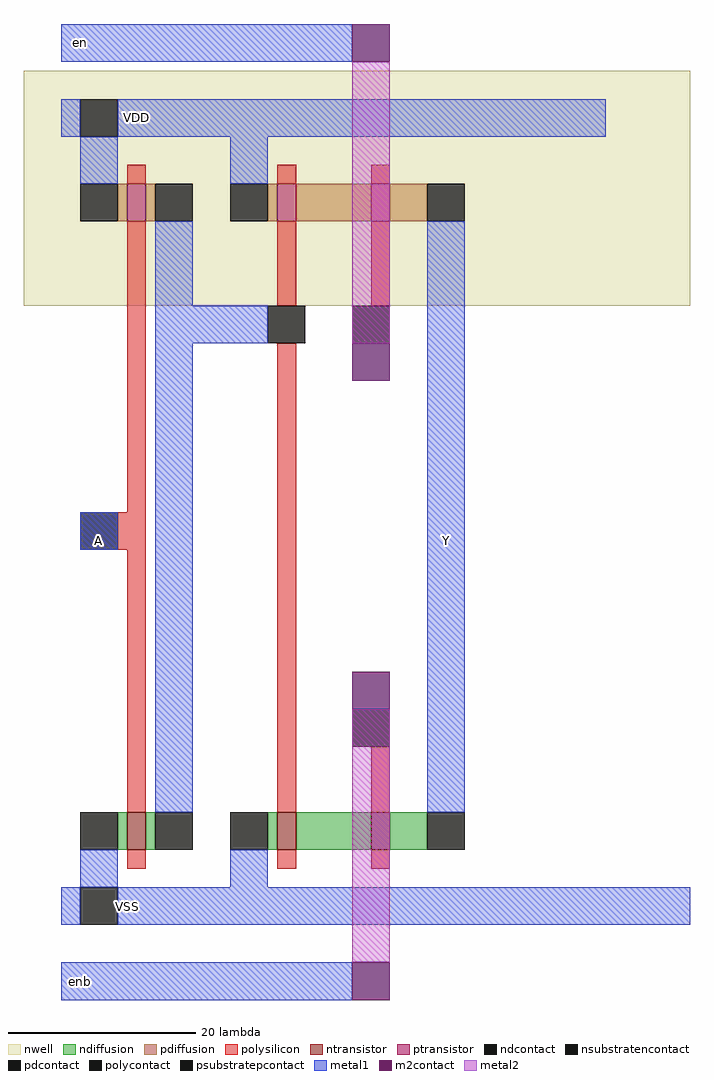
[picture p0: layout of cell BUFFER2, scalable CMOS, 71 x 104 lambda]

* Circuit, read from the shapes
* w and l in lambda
.subckt BUFFER2 A VDD VSS Y en enb
M1 INV_0/Y A VSS VSS nfet w=4 l=2
M2 n1 INV_0/Y VSS VSS nfet w=4 l=2
M3 Y enb n1 VSS nfet w=4 l=2
M4 INV_0/Y A VDD VDD pfet w=4 l=2
M5 n2 INV_0/Y VDD VDD pfet w=4 l=2
M6 Y en n2 VDD pfet w=4 l=2
.ends

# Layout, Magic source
magic
tech scmos
<< nwell >>
rect 23 88 71 91
rect 10 84 14 88
rect 20 84 71 88
rect 23 79 71 84
rect 22 75 71 79
rect 23 66 71 75
<< ntransistor >>
rect 27 8 29 12
rect 37 8 39 12
<< ptransistor >>
rect 27 75 29 79
rect 37 75 39 79
<< ndiffusion >>
rect 26 8 27 12
rect 29 8 37 12
rect 39 8 43 12
<< pdiffusion >>
rect 26 75 27 79
rect 29 75 37 79
rect 39 75 43 79
<< ndcontact >>
rect 22 8 26 12
rect 43 8 47 12
<< pdcontact >>
rect 22 75 26 79
rect 43 75 47 79
<< polysilicon >>
rect 27 79 29 81
rect 37 79 39 81
rect 27 66 29 75
rect 37 66 39 75
rect 27 12 29 62
rect 37 12 39 19
rect 27 6 29 8
rect 37 6 39 8
<< polycontact >>
rect 26 62 30 66
rect 35 62 39 66
rect 35 19 39 23
<< metal1 >>
rect 4 92 35 96
rect 10 84 14 88
rect 20 84 62 88
rect 22 79 26 84
rect 18 62 26 66
rect 6 40 10 44
rect 43 12 47 75
rect 22 4 26 8
rect 10 0 14 4
rect 20 0 71 4
rect 4 -8 35 -4
<< m2contact >>
rect 35 92 39 96
rect 35 58 39 62
rect 35 23 39 27
rect 35 -8 39 -4
<< metal2 >>
rect 35 62 39 92
rect 35 -4 39 23
use INV  INV_0
transform 1 0 4 0 1 0
box -4 0 20 91
<< labels >>
rlabel metal1 45 41 45 41 1 Y
rlabel metal1 8 41 8 41 1 A
rlabel metal1 11 2 11 2 2 VSS
rlabel metal1 12 86 12 86 4 VDD
rlabel metal1 6 -6 6 -6 1 enb
rlabel metal1 6 94 6 94 5 en
<< end >>

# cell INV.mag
magic
tech scmos
<< nwell >>
rect -4 66 20 91
<< ntransistor >>
rect 7 8 9 12
<< ptransistor >>
rect 7 75 9 79
<< ndiffusion >>
rect 6 8 7 12
rect 9 8 10 12
<< pdiffusion >>
rect 6 75 7 79
rect 9 75 10 79
<< ndcontact >>
rect 2 8 6 12
rect 10 8 14 12
<< pdcontact >>
rect 2 75 6 79
rect 10 75 14 79
<< psubstratepcontact >>
rect 2 0 6 4
<< nsubstratencontact >>
rect 2 84 6 88
<< polysilicon >>
rect 7 79 9 81
rect 7 44 9 75
rect 6 40 9 44
rect 7 12 9 40
rect 7 6 9 8
<< polycontact >>
rect 2 40 6 44
<< metal1 >>
rect 0 84 2 88
rect 6 84 16 88
rect 2 79 6 84
rect 10 12 14 75
rect 2 4 6 8
rect 0 0 2 4
rect 6 0 16 4
<< labels >>
rlabel metal1 1 2 1 2 2 VSS
rlabel metal1 12 17 12 17 1 Y
rlabel metal1 1 86 1 86 4 VDD
rlabel polycontact 4 42 4 42 1 A
<< end >>
